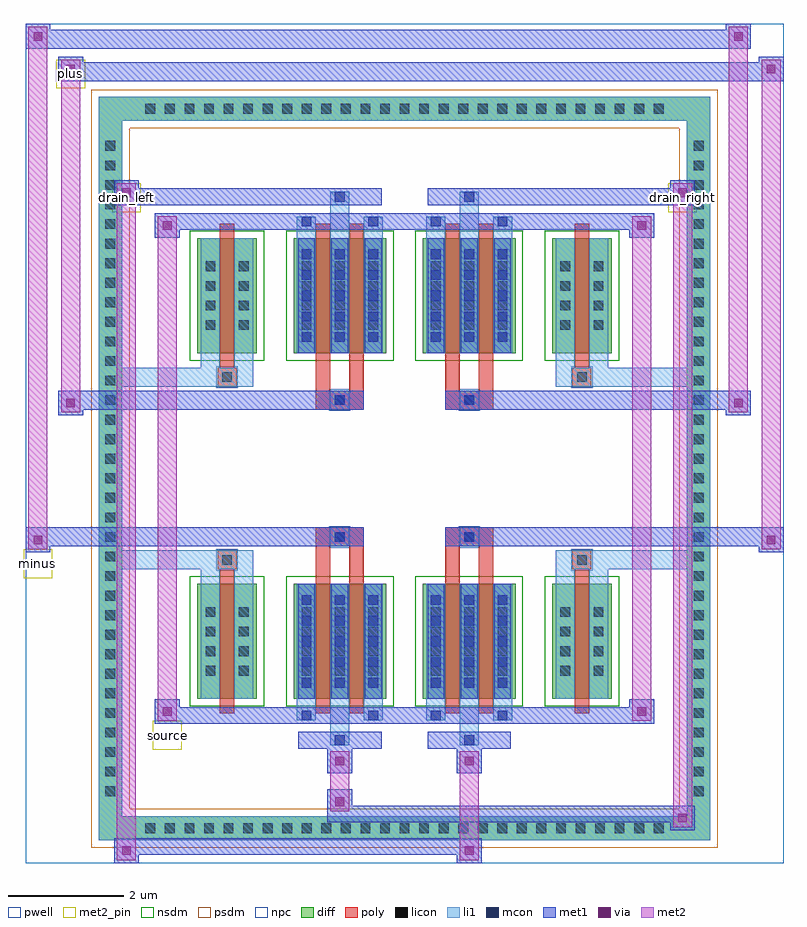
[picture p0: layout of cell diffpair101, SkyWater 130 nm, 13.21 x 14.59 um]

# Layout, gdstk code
import gdstk
lib = gdstk.Library(unit=1e-6, precision=5e-09)
def R(c, l, rs):  # rectangles x0, y0, x1, y1
    for r in rs: c.add(gdstk.rectangle(r[:2], r[2:], *l))
def A(c, l, x, y, w, h, nx, ny, dx, dy):  # array of equal rectangles
    R(c, l, [(x+i*dx, y+j*dy, x+i*dx+w, y+j*dy+h) for i in range(nx) for j in range(ny)])
def P(c, l, *ps):  # polygons
    for p in ps: c.add(gdstk.Polygon(p, *l))
pwell = (64, 44)
diff = (65, 20)
poly = (66, 20)
licon = (66, 44)
li1 = (67, 20)
mcon = (67, 44)
met1 = (68, 20)
via = (68, 44)
met2_pin = (69, 16)
met2 = (69, 20)
nsdm = (93, 44)
psdm = (94, 20)
npc = (95, 20)

diffpair101 = lib.new_cell('diffpair101')
R(diffpair101, pwell, [(-6.59,-6.86,6.59,7.73), (-3.91,-5.05,-0.01,-0.825), (0.01,-5.05,3.91,-0.825), (-3.91,0.825,-0.01,5.05), (0.01,0.825,3.91,5.05)])
A(diffpair101, diff, -4.625, -6.46, 0.41, 0.41, 27, 2, 0.34, 12.51)
A(diffpair101, diff, -5.32, -5.815, 0.41, 0.41, 1, 34, 0, 0.34)
A(diffpair101, diff, 4.91, -5.815, 0.41, 0.41, 1, 34, 0, 0.34)
R(diffpair101, diff, [(-4.625,-6.46,4.625,-6.05), (-5.32,-5.815,-4.91,5.815), (4.91,-5.815,5.32,5.815), (-3.6,-4.005,-2.57,-2.005), (-1.93,-4.005,-0.32,-2.005), (0.32,-4.005,1.93,-2.005), (2.57,-4.005,3.6,-2.005), (-3.6,2.005,-2.57,4.005), (-1.93,2.005,-0.32,4.005), (0.32,2.005,1.93,4.005), (2.57,2.005,3.6,4.005), (-4.625,6.05,4.625,6.46)])
P(diffpair101, diff, [(5.32,6.46),(-5.32,6.46),(-5.32,-6.05),(-4.91,-6.05),(-4.91,6.05),(4.91,6.05),(4.91,-6.05),(-4.91,-6.05),(-5.32,-6.05),(-5.32,-6.46),(5.32,-6.46)])
R(diffpair101, poly, [(-3.21,-4.255,-2.96,-1.755), (-1.54,-4.255,-1.29,-1.755), (-0.96,-4.255,-0.71,-1.755), (0.71,-4.255,0.96,-1.755), (1.29,-4.255,1.54,-1.755), (2.96,-4.255,3.21,-1.755), (-3.25,-1.755,-2.92,-1.425), (-3.25,-1.755,-2.92,-1.425), (-1.54,-1.755,-1.29,-1.355), (-0.96,-1.755,-0.71,-1.355), (0.71,-1.755,0.96,-1.355), (1.29,-1.755,1.54,-1.355), (2.92,-1.755,3.25,-1.425), (2.92,-1.755,3.25,-1.425), (-1.54,-1.355,-0.71,-1.025), (-1.29,-1.355,-0.96,-1.025), (0.71,-1.355,1.54,-1.025), (0.96,-1.355,1.29,-1.025), (-1.54,1.025,-0.71,1.355), (-1.29,1.025,-0.96,1.355), (0.71,1.025,1.54,1.355), (0.96,1.025,1.29,1.355), (-1.54,1.355,-1.29,1.755), (-0.96,1.355,-0.71,1.755), (0.71,1.355,0.96,1.755), (1.29,1.355,1.54,1.755), (-3.25,1.425,-2.92,1.755), (-3.25,1.425,-2.92,1.755), (2.92,1.425,3.25,1.755), (2.92,1.425,3.25,1.755), (-3.21,1.755,-2.96,4.255), (-1.54,1.755,-1.29,4.255), (-0.96,1.755,-0.71,4.255), (0.71,1.755,0.96,4.255), (1.29,1.755,1.54,4.255), (2.96,1.755,3.21,4.255)])
A(diffpair101, licon, -4.505, -6.34, 0.17, 0.17, 27, 2, 0.34, 12.51)
A(diffpair101, licon, -5.2, -5.695, 0.17, 0.17, 1, 34, 0, 0.34)
A(diffpair101, licon, 5.03, -5.695, 0.17, 0.17, 1, 34, 0, 0.34)
A(diffpair101, licon, -3.46, -3.6, 0.17, 0.17, 1, 4, 0, 0.34)
A(diffpair101, licon, -2.88, -3.6, 0.17, 0.17, 1, 4, 0, 0.34)
A(diffpair101, licon, -1.79, -3.6, 0.17, 0.17, 3, 4, 0.58, 0.34)
A(diffpair101, licon, 0.46, -3.6, 0.17, 0.17, 3, 4, 0.58, 0.34)
A(diffpair101, licon, 2.71, -3.6, 0.17, 0.17, 1, 4, 0, 0.34)
A(diffpair101, licon, 3.29, -3.6, 0.17, 0.17, 1, 4, 0, 0.34)
A(diffpair101, licon, -3.46, 2.41, 0.17, 0.17, 1, 4, 0, 0.34)
A(diffpair101, licon, -2.88, 2.41, 0.17, 0.17, 1, 4, 0, 0.34)
A(diffpair101, licon, -1.79, 2.41, 0.17, 0.17, 3, 4, 0.58, 0.34)
A(diffpair101, licon, 0.46, 2.41, 0.17, 0.17, 3, 4, 0.58, 0.34)
A(diffpair101, licon, 2.71, 2.41, 0.17, 0.17, 1, 4, 0, 0.34)
A(diffpair101, licon, 3.29, 2.41, 0.17, 0.17, 1, 4, 0, 0.34)
R(diffpair101, licon, [(-3.17,-1.675,-3,-1.505), (3,-1.675,3.17,-1.505), (-1.21,-1.275,-1.04,-1.105), (1.04,-1.275,1.21,-1.105), (-1.21,1.105,-1.04,1.275), (1.04,1.105,1.21,1.275), (-3.17,1.505,-3,1.675), (3,1.505,3.17,1.675)])
A(diffpair101, li1, -4.585, -6.42, 0.33, 0.33, 27, 2, 0.34, 12.51)
A(diffpair101, li1, -5.28, -5.775, 0.33, 0.33, 1, 34, 0, 0.34)
A(diffpair101, li1, 4.95, -5.775, 0.33, 0.33, 1, 34, 0, 0.34)
A(diffpair101, li1, -1.87, -4.005, 0.33, 2, 3, 2, 0.58, 6.01)
A(diffpair101, li1, 0.38, -4.005, 0.33, 2, 3, 2, 0.58, 6.01)
A(diffpair101, li1, -1.79, -3.81, 0.17, 0.17, 3, 5, 0.58, 0.36)
A(diffpair101, li1, -1.79, -3.81, 0.17, 1.61, 3, 2, 0.58, 6.01)
A(diffpair101, li1, 0.46, -3.81, 0.17, 0.17, 3, 5, 0.58, 0.36)
A(diffpair101, li1, 0.46, -3.81, 0.17, 1.61, 3, 2, 0.58, 6.01)
A(diffpair101, li1, -3.54, -3.68, 0.33, 0.33, 1, 4, 0, 0.34)
A(diffpair101, li1, -2.96, -3.68, 0.33, 0.33, 1, 4, 0, 0.34)
A(diffpair101, li1, -1.87, -3.68, 0.33, 0.33, 3, 4, 0.58, 0.34)
A(diffpair101, li1, 0.38, -3.68, 0.33, 0.33, 3, 4, 0.58, 0.34)
A(diffpair101, li1, 2.63, -3.68, 0.33, 0.33, 1, 4, 0, 0.34)
A(diffpair101, li1, 3.21, -3.68, 0.33, 0.33, 1, 4, 0, 0.34)
A(diffpair101, li1, -1.79, 2.2, 0.17, 0.17, 3, 5, 0.58, 0.36)
A(diffpair101, li1, 0.46, 2.2, 0.17, 0.17, 3, 5, 0.58, 0.36)
A(diffpair101, li1, -3.54, 2.33, 0.33, 0.33, 1, 4, 0, 0.34)
A(diffpair101, li1, -2.96, 2.33, 0.33, 0.33, 1, 4, 0, 0.34)
A(diffpair101, li1, -1.87, 2.33, 0.33, 0.33, 3, 4, 0.58, 0.34)
A(diffpair101, li1, 0.38, 2.33, 0.33, 0.33, 3, 4, 0.58, 0.34)
A(diffpair101, li1, 2.63, 2.33, 0.33, 0.33, 1, 4, 0, 0.34)
A(diffpair101, li1, 3.21, 2.33, 0.33, 0.33, 1, 4, 0, 0.34)
R(diffpair101, li1, [(-5.32,-6.46,-4.91,-6.05), (-5.32,-6.46,-4.91,-6.05), (-4.91,-6.46,4.91,-6.05), (4.91,-6.46,5.32,-6.05), (4.91,-6.46,5.32,-6.05), (-5.32,-6.05,-4.91,6.05), (4.91,-6.05,5.32,6.05), (-1.29,-4.81,-0.96,-4.005), (-1.21,-4.81,-1.04,-4.64), (0.96,-4.81,1.29,-4.005), (1.04,-4.81,1.21,-4.64), (-1.87,-4.38,-1.54,-4.005), (-1.79,-4.38,-1.62,-4.21), (-0.71,-4.38,-0.38,-4.005), (-0.63,-4.38,-0.46,-4.21), (0.38,-4.38,0.71,-4.005), (0.46,-4.38,0.63,-4.21), (1.54,-4.38,1.87,-4.005), (1.62,-4.38,1.79,-4.21), (-3.54,-4.005,-3.21,-2.005), (-2.96,-4.005,-2.63,-2.005), (2.63,-4.005,2.96,-2.005), (3.21,-4.005,3.54,-2.005), (-3.54,-2.005,-3.21,-1.425), (-2.96,-2.005,-2.63,-1.425), (2.63,-2.005,2.96,-1.425), (3.21,-2.005,3.54,-1.425), (-5.32,-1.755,-3.25,-1.425), (-3.54,-1.755,-3.25,-1.425), (-3.25,-1.755,-2.92,-1.425), (-2.92,-1.755,-2.63,-1.425), (2.63,-1.755,2.92,-1.425), (2.92,-1.755,3.25,-1.425), (2.92,-1.755,5.32,-1.425), (3.25,-1.755,3.54,-1.425), (-1.29,-1.355,-0.96,-1.025), (0.96,-1.355,1.29,-1.025), (-1.29,1.025,-0.96,1.355), (0.96,1.025,1.29,1.355), (-5.32,1.425,-3.25,1.755), (-3.54,1.425,-3.25,1.755), (-3.54,1.425,-3.21,2.005), (-3.25,1.425,-2.92,1.755), (-2.96,1.425,-2.63,2.005), (-2.92,1.425,-2.63,1.755), (2.63,1.425,2.92,1.755), (2.63,1.425,2.96,2.005), (2.92,1.425,3.25,1.755), (2.92,1.425,5.32,1.755), (3.21,1.425,3.54,2.005), (3.25,1.425,3.54,1.755), (-3.54,2.005,-3.21,4.005), (-2.96,2.005,-2.63,4.005), (2.63,2.005,2.96,4.005), (3.21,2.005,3.54,4.005), (-1.87,4.005,-1.54,4.38), (-1.29,4.005,-0.96,4.81), (-0.71,4.005,-0.38,4.38), (0.38,4.005,0.71,4.38), (0.96,4.005,1.29,4.81), (1.54,4.005,1.87,4.38), (-1.79,4.21,-1.62,4.38), (-0.63,4.21,-0.46,4.38), (0.46,4.21,0.63,4.38), (1.62,4.21,1.79,4.38), (-1.21,4.64,-1.04,4.81), (1.04,4.64,1.21,4.81), (-5.32,6.05,-4.91,6.46), (-5.32,6.05,-4.91,6.46), (-4.91,6.05,4.91,6.46), (4.91,6.05,5.32,6.46), (4.91,6.05,5.32,6.46)])
A(diffpair101, mcon, -1.79, -3.81, 0.17, 0.17, 3, 5, 0.58, 0.36)
A(diffpair101, mcon, 0.46, -3.81, 0.17, 0.17, 3, 5, 0.58, 0.36)
A(diffpair101, mcon, -1.79, 2.2, 0.17, 0.17, 3, 5, 0.58, 0.36)
A(diffpair101, mcon, 0.46, 2.2, 0.17, 0.17, 3, 5, 0.58, 0.36)
R(diffpair101, mcon, [(-1.21,-4.81,-1.04,-4.64), (1.04,-4.81,1.21,-4.64), (-1.79,-4.38,-1.62,-4.21), (-0.63,-4.38,-0.46,-4.21), (0.46,-4.38,0.63,-4.21), (1.62,-4.38,1.79,-4.21), (-1.21,-1.275,-1.04,-1.105), (1.04,-1.275,1.21,-1.105), (-1.21,1.105,-1.04,1.275), (1.04,1.105,1.21,1.275), (-1.79,4.21,-1.62,4.38), (-0.63,4.21,-0.46,4.38), (0.46,4.21,0.63,4.38), (1.62,4.21,1.79,4.38), (-1.21,4.64,-1.04,4.81), (1.04,4.64,1.21,4.81)])
A(diffpair101, met1, -1.85, -4.005, 0.29, 2, 3, 2, 0.58, 6.01)
A(diffpair101, met1, 0.4, -4.005, 0.29, 2, 3, 2, 0.58, 6.01)
A(diffpair101, met1, -1.85, -3.87, 0.29, 0.29, 3, 5, 0.58, 0.36)
A(diffpair101, met1, 0.4, -3.87, 0.29, 0.29, 3, 5, 0.58, 0.36)
A(diffpair101, met1, -1.85, 2.14, 0.29, 0.29, 3, 5, 0.58, 0.36)
A(diffpair101, met1, 0.4, 2.14, 0.29, 0.29, 3, 5, 0.58, 0.36)
R(diffpair101, met1, [(-5.05,-6.86,-4.62,-6.43), (0.91,-6.86,1.34,-6.43), (-5.05,-6.72,1.34,-6.43), (4.62,-6.29,5.05,-5.86), (-1.34,-6.15,5.05,-5.86), (-1.34,-6.01,-0.91,-5.58), (-1.34,-5.3,-0.91,-4.87), (0.91,-5.3,1.34,-4.87), (-1.85,-4.87,-0.4,-4.58), (-1.27,-4.87,-0.98,-4.58), (0.4,-4.87,1.85,-4.58), (0.98,-4.87,1.27,-4.58), (-4.34,-4.44,-3.91,-4.01), (-4.34,-4.44,-1.85,-4.15), (-1.85,-4.44,-1.56,-4.15), (-1.85,-4.44,-0.4,-4.15), (-0.69,-4.44,-0.4,-4.15), (-0.4,-4.44,0.4,-4.15), (0.4,-4.44,0.69,-4.15), (0.4,-4.44,1.85,-4.15), (1.56,-4.44,1.85,-4.15), (1.85,-4.44,4.34,-4.15), (3.91,-4.44,4.34,-4.01), (-6.59,-1.455,-6.16,-1.025), (6.16,-1.455,6.59,-1.025), (-6.59,-1.355,-0.71,-1.025), (-1.54,-1.355,-0.71,-1.025), (0.71,-1.355,1.54,-1.025), (0.71,-1.355,6.59,-1.025), (-1.27,-1.335,-0.98,-1.045), (0.98,-1.335,1.27,-1.045), (-6.02,0.925,-5.59,1.355), (5.59,0.925,6.02,1.355), (-6.02,1.025,-1.54,1.355), (-1.54,1.025,-0.71,1.355), (0.71,1.025,1.54,1.355), (1.54,1.025,6.02,1.355), (-1.27,1.045,-0.98,1.335), (0.98,1.045,1.27,1.335), (-4.34,4.01,-3.91,4.44), (3.91,4.01,4.34,4.44), (-4.34,4.15,-1.85,4.44), (-1.85,4.15,-1.56,4.44), (-1.85,4.15,-0.4,4.44), (-0.69,4.15,-0.4,4.44), (-0.4,4.15,0.4,4.44), (0.4,4.15,0.69,4.44), (0.4,4.15,1.85,4.44), (1.56,4.15,1.85,4.44), (1.85,4.15,4.34,4.44), (-5.05,4.58,-4.62,5.01), (-5.05,4.58,-1.85,4.87), (-1.85,4.58,-0.4,4.87), (-1.27,4.58,-0.98,4.87), (0.4,4.58,1.85,4.87), (0.98,4.58,1.27,4.87), (1.85,4.58,5.05,4.87), (4.62,4.58,5.05,5.01), (-6.02,6.73,-5.59,7.16), (-6.02,6.73,-3.91,7.06), (-3.91,6.73,3.91,7.06), (3.91,6.73,6.59,7.06), (6.16,6.73,6.59,7.16), (-6.59,7.3,-6.16,7.73), (-6.59,7.3,-3.91,7.63), (-3.91,7.3,3.91,7.63), (3.91,7.3,6.02,7.63), (5.59,7.3,6.02,7.73)])
R(diffpair101, via, [(-4.91,-6.72,-4.76,-6.57), (1.05,-6.72,1.2,-6.57), (4.76,-6.15,4.91,-6), (-1.2,-5.87,-1.05,-5.72), (-1.2,-5.16,-1.05,-5.01), (1.05,-5.16,1.2,-5.01), (-4.2,-4.3,-4.05,-4.15), (4.05,-4.3,4.2,-4.15), (-6.45,-1.315,-6.3,-1.165), (6.3,-1.315,6.45,-1.165), (-5.88,1.065,-5.73,1.215), (5.73,1.065,5.88,1.215), (-4.2,4.15,-4.05,4.3), (4.05,4.15,4.2,4.3), (-4.91,4.72,-4.76,4.87), (4.76,4.72,4.91,4.87), (-5.88,6.87,-5.73,7.02), (6.3,6.87,6.45,7.02), (-6.45,7.44,-6.3,7.59), (5.73,7.44,5.88,7.59)])
R(diffpair101, met2_pin, [(-4.375,-4.89,-3.875,-4.39), (-6.625,-1.905,-6.125,-1.405), (-5.085,4.46,-4.585,4.96), (4.585,4.46,5.085,4.96), (-6.055,6.61,-5.555,7.11)])
R(diffpair101, met2, [(-5,-6.81,-4.67,-6.48), (-5,-6.81,-4.67,4.96), (0.96,-6.81,1.29,-6.48), (0.96,-6.48,1.29,-5.25), (4.67,-6.24,5,-5.91), (4.67,-6.24,5,4.96), (-1.29,-5.96,-0.96,-5.63), (-1.29,-5.63,-0.96,-5.25), (-1.29,-5.25,-0.96,-4.92), (0.96,-5.25,1.29,-4.92), (-4.29,-4.39,-3.96,-4.06), (-4.29,-4.39,-3.96,4.39), (3.96,-4.39,4.29,-4.06), (3.96,-4.39,4.29,4.39), (-6.54,-1.405,-6.21,-1.075), (-6.54,-1.405,-6.21,7.68), (6.21,-1.405,6.54,-1.075), (6.21,-1.405,6.54,7.11), (-5.97,0.975,-5.64,1.305), (-5.97,0.975,-5.64,7.11), (5.64,0.975,5.97,1.305), (5.64,0.975,5.97,7.68), (-4.29,4.06,-3.96,4.39), (3.96,4.06,4.29,4.39), (-5,4.63,-4.67,4.96), (4.67,4.63,5,4.96), (-5.97,6.78,-5.64,7.11), (6.21,6.78,6.54,7.11), (-6.54,7.35,-6.21,7.68), (5.64,7.35,5.97,7.68)])
P(diffpair101, met2, [(6.54,-1.405),(6.54,-1.405),(6.54,-1.075),(6.54,-1.075)],
  [(6.54,6.78),(6.54,6.78),(6.54,7.11),(6.54,7.11)],
  [(-6.21,-1.405),(-6.21,-1.405),(-6.21,-1.075),(-6.21,-1.075)],
  [(-6.21,7.35),(-6.21,7.35),(-6.21,7.68),(-6.21,7.68)],
  [(5.97,0.975),(5.97,0.975),(5.97,1.305),(5.97,1.305)],
  [(5.97,7.35),(5.97,7.35),(5.97,7.68),(5.97,7.68)],
  [(-5.64,0.975),(-5.64,0.975),(-5.64,1.305),(-5.64,1.305)],
  [(-5.64,6.78),(-5.64,6.78),(-5.64,7.11),(-5.64,7.11)],
  [(-4.67,-6.81),(-4.67,-6.81),(-4.67,-6.48),(-4.67,-6.48)],
  [(-4.67,4.63),(-4.67,4.63),(-4.67,4.96),(-4.67,4.96)],
  [(5,-6.24),(5,-6.24),(5,-5.91),(5,-5.91)],
  [(5,4.63),(5,4.63),(5,4.96),(5,4.96)],
  [(-3.96,-4.39),(-3.96,-4.39),(-3.96,-4.06),(-3.96,-4.06)],
  [(-3.96,4.06),(-3.96,4.06),(-3.96,4.39),(-3.96,4.39)],
  [(4.29,-4.39),(4.29,-4.39),(4.29,-4.06),(4.29,-4.06)],
  [(4.29,4.06),(4.29,4.06),(4.29,4.39),(4.29,4.39)])
R(diffpair101, nsdm, [(-3.73,-4.135,-2.44,-1.875), (-2.06,-4.135,-0.19,-1.875), (0.19,-4.135,2.06,-1.875), (2.44,-4.135,3.73,-1.875), (-3.73,1.875,-2.44,4.135), (-2.06,1.875,-0.19,4.135), (0.19,1.875,2.06,4.135), (2.44,1.875,3.73,4.135)])
P(diffpair101, psdm, [(5.45,6.59),(-5.45,6.59),(-5.45,-5.92),(-4.78,-5.92),(-4.78,5.92),(4.78,5.92),(4.78,-5.92),(-4.78,-5.92),(-5.45,-5.92),(-5.45,-6.59),(5.45,-6.59)])
R(diffpair101, npc, [(-3.27,-1.775,-2.9,-1.405), (2.9,-1.775,3.27,-1.405), (-1.31,-1.375,-0.94,-1.005), (0.94,-1.375,1.31,-1.005), (-1.31,1.005,-0.94,1.375), (0.94,1.005,1.31,1.375), (-3.27,1.405,-2.9,1.775), (2.9,1.405,3.27,1.775)])
diffpair101.add(gdstk.Label('minus', (-6.375,-1.655), layer=69, texttype=5))
diffpair101.add(gdstk.Label('drain_right', (4.835,4.71), layer=69, texttype=5))
diffpair101.add(gdstk.Label('drain_left', (-4.835,4.71), layer=69, texttype=5))
diffpair101.add(gdstk.Label('source', (-4.125,-4.64), layer=69, texttype=5))
diffpair101.add(gdstk.Label('plus', (-5.805,6.86), layer=69, texttype=5))

lib.write_gds('diffpair101.gds')
